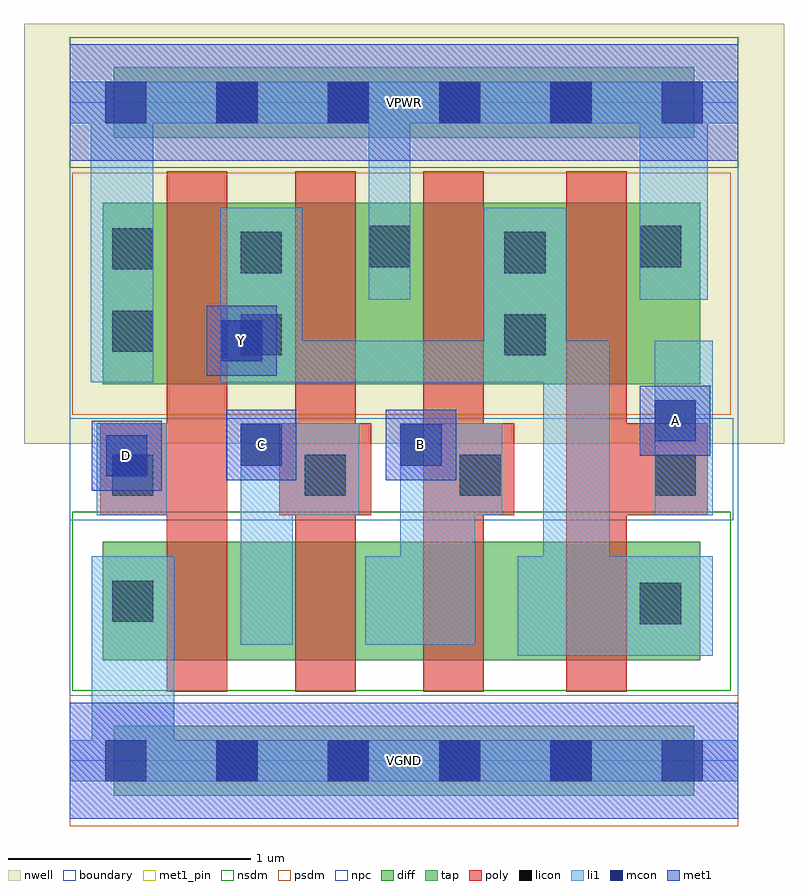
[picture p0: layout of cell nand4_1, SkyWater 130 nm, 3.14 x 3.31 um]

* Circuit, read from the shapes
.subckt nand4_1 A B C D VGND VPWR Y
XM1 n1 D VGND VGND sky130_fd_pr__nfet_01v8 w=0.49 l=0.25
XM2 n2 C n1 VGND sky130_fd_pr__nfet_01v8 w=0.49 l=0.25
XM3 n3 B n2 VGND sky130_fd_pr__nfet_01v8 w=0.49 l=0.25
XM4 Y A n3 VGND sky130_fd_pr__nfet_01v8 w=0.49 l=0.25
XM5 Y D VPWR VPWR sky130_fd_pr__pfet_01v8 w=0.75 l=0.25
XM6 VPWR C Y VPWR sky130_fd_pr__pfet_01v8 w=0.75 l=0.25
XM7 Y B VPWR VPWR sky130_fd_pr__pfet_01v8 w=0.75 l=0.25
XM8 VPWR A Y VPWR sky130_fd_pr__pfet_01v8 w=0.75 l=0.25
.ends

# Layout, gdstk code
import gdstk
lib = gdstk.Library(unit=1e-6, precision=1e-09)
def R(c, l, rs):  # rectangles x0, y0, x1, y1
    for r in rs: c.add(gdstk.rectangle(r[:2], r[2:], *l))
def A(c, l, x, y, w, h, nx, ny, dx, dy):  # array of equal rectangles
    R(c, l, [(x+i*dx, y+j*dy, x+i*dx+w, y+j*dy+h) for i in range(nx) for j in range(ny)])
nwell = (64, 20)
diff = (65, 20)
tap = (65, 44)
poly = (66, 20)
licon = (66, 44)
li1 = (67, 20)
mcon = (67, 44)
met1_pin = (68, 16)
met1 = (68, 20)
nsdm = (93, 44)
psdm = (94, 20)
npc = (95, 20)
boundary = (235, 4)

nand4_1 = lib.new_cell('nand4_1')
R(nand4_1, nwell, [(-0.19,1.31,2.95,3.045), (0,1.31,2.76,3.045)])
R(nand4_1, diff, [(0.135,0.415,2.605,0.905), (0.135,1.555,2.605,2.305)])
R(nand4_1, tap, [(0.18,-0.145,2.58,0.145), (0.18,2.575,2.58,2.865)])
A(nand4_1, poly, 0.4, 0.285, 0.25, 2.15, 3, 1, 0.53, 0)
R(nand4_1, poly, [(2.05,0.285,2.3,2.435), (0.125,1.015,0.65,1.395), (0.865,1.015,1.245,1.395), (1.46,1.015,1.835,1.395), (2.05,1.015,2.635,1.395)])
A(nand4_1, licon, 0.605, -0.085, 0.17, 0.17, 4, 2, 0.46, 2.72)
R(nand4_1, licon, [(2.355,0.565,2.525,0.735), (0.175,0.575,0.345,0.745), (0.175,1.095,0.345,1.265), (0.97,1.095,1.14,1.265), (1.61,1.095,1.78,1.265), (2.415,1.095,2.585,1.265), (0.705,1.675,0.875,1.845), (1.795,1.675,1.965,1.845), (0.175,1.69,0.345,1.86), (0.705,2.015,0.875,2.185), (1.795,2.015,1.965,2.185), (0.175,2.03,0.345,2.2), (1.235,2.04,1.405,2.21), (2.355,2.04,2.525,2.21)])
R(nand4_1, li1, [(0,-0.085,2.76,0.085), (0.09,-0.085,0.43,0.845), (1.85,0.435,2.655,0.845), (1.955,0.435,2.23,1.735), (0.705,0.48,0.92,1.395), (1.22,0.48,1.675,0.845), (1.365,0.48,1.675,1.395), (0.11,1.015,0.4,1.395), (0.705,1.015,1.195,1.395), (1.365,1.015,1.785,1.395), (2.415,1.015,2.655,1.735), (0.085,1.565,0.345,2.805), (0.62,1.565,0.96,2.285), (0.62,1.565,2.23,1.735), (1.71,1.565,2.05,2.285), (1.235,1.905,1.405,2.805), (2.355,1.905,2.635,2.805), (0,2.635,2.76,2.805)])
A(nand4_1, mcon, 0.145, -0.085, 0.17, 0.17, 6, 2, 0.46, 2.72)
R(nand4_1, mcon, [(0.15,1.175,0.32,1.345), (0.705,1.22,0.875,1.39), (1.365,1.22,1.535,1.39), (2.415,1.32,2.585,1.49), (0.625,1.65,0.795,1.82)])
R(nand4_1, met1_pin, [(0,-0.24,2.76,0.24), (0.09,1.115,0.38,1.405), (0.645,1.16,0.935,1.45), (1.305,1.16,1.595,1.45), (2.355,1.26,2.645,1.55), (0.565,1.59,0.855,1.88), (0,2.48,2.76,2.96)])
R(nand4_1, met1, [(0,-0.24,2.76,0.24), (0.09,1.115,0.38,1.405), (0.645,1.16,0.935,1.45), (1.305,1.16,1.595,1.45), (2.355,1.26,2.645,1.55), (0.565,1.59,0.855,1.88), (0,2.48,2.76,2.96)])
R(nand4_1, nsdm, [(0.01,0.29,2.73,1.03), (0,2.45,2.76,2.99)])
R(nand4_1, psdm, [(0,-0.27,2.76,0.27), (0.01,1.43,2.73,2.43)])
R(nand4_1, npc, [(0,0.995,2.74,1.415)])
R(nand4_1, boundary, [(0,0,2.76,2.72)])
nand4_1.add(gdstk.Label('A', (2.5,1.405), layer=68, texttype=5))
nand4_1.add(gdstk.Label('B', (1.45,1.305), layer=68, texttype=5))
nand4_1.add(gdstk.Label('C', (0.79,1.305), layer=68, texttype=5))
nand4_1.add(gdstk.Label('D', (0.235,1.26), layer=68, texttype=5))
nand4_1.add(gdstk.Label('Y', (0.71,1.735), layer=68, texttype=5))
nand4_1.add(gdstk.Label('VPWR', (1.38,2.72), layer=68, texttype=5))
nand4_1.add(gdstk.Label('VGND', (1.38,0), layer=68, texttype=5))
nand4_1.add(gdstk.Label('A', (2.5,1.405), layer=68, texttype=16))
nand4_1.add(gdstk.Label('B', (1.45,1.305), layer=68, texttype=16))
nand4_1.add(gdstk.Label('C', (0.79,1.305), layer=68, texttype=16))
nand4_1.add(gdstk.Label('D', (0.235,1.26), layer=68, texttype=16))
nand4_1.add(gdstk.Label('Y', (0.71,1.735), layer=68, texttype=16))
nand4_1.add(gdstk.Label('VPWR', (1.38,2.72), layer=68, texttype=16))
nand4_1.add(gdstk.Label('VGND', (1.38,0), layer=68, texttype=16))

lib.write_gds('nand4_1.gds')
